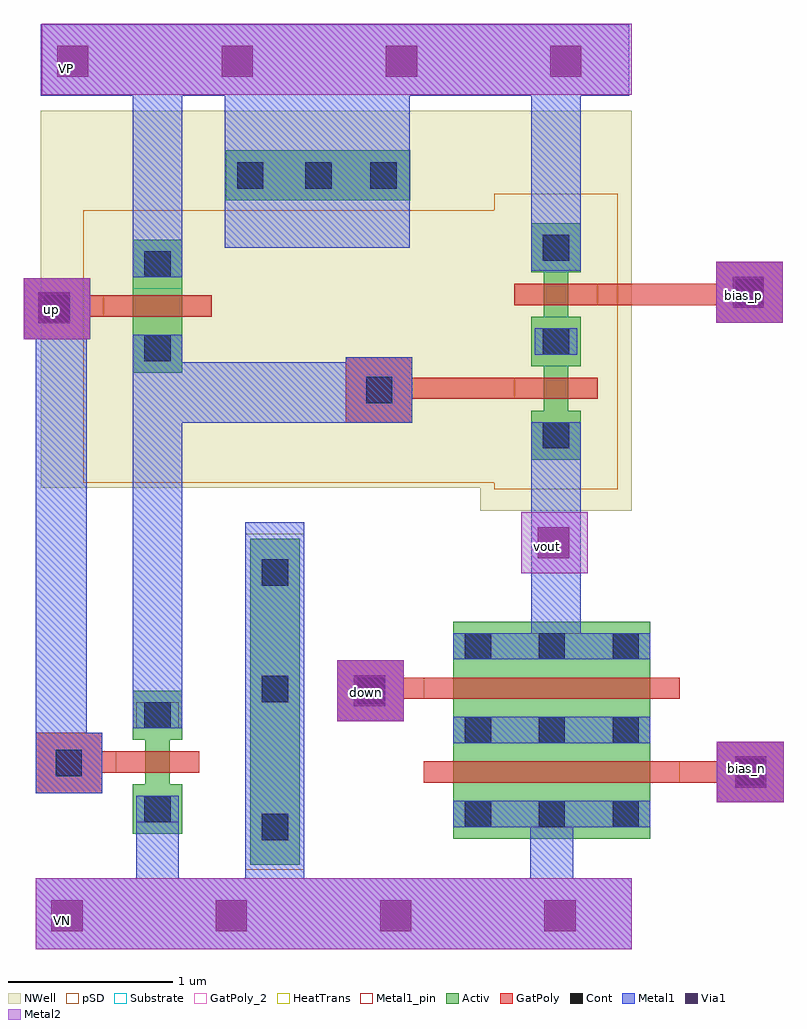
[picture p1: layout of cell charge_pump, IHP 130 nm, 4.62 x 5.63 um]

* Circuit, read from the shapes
.subckt charge_pump VN VP bias_n bias_p down up vout
XM1 n1 up VN VN sg13_lv_nmos w=0.15u l=0.13u
XM2 n2 bias_n VN VN sg13_lv_nmos w=1.2u l=0.13u
XM3 vout down n2 VN sg13_lv_nmos w=1.2u l=0.13u
XM4 VP up n1 VP sg13_lv_pmos w=0.3u l=0.13u
XM5 n3 n1 vout VP sg13_lv_pmos w=0.15u l=0.13u
XM6 VP bias_p n3 VP sg13_lv_pmos w=0.15u l=0.13u
.ends

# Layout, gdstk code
from math import pi, radians
import gdstk
lib = gdstk.Library(unit=1e-6, precision=1e-09)
def R(c, l, rs):  # rectangles x0, y0, x1, y1
    for r in rs: c.add(gdstk.rectangle(r[:2], r[2:], *l))
def A(c, l, x, y, w, h, nx, ny, dx, dy):  # array of equal rectangles
    R(c, l, [(x+i*dx, y+j*dy, x+i*dx+w, y+j*dy+h) for i in range(nx) for j in range(ny)])
Activ = (1, 0)
GatPoly = (5, 0)
GatPoly_2 = (5, 2)
Cont = (6, 0)
Metal1 = (8, 0)
Metal1_pin = (8, 2)
Metal2 = (10, 0)
pSD = (14, 0)
Via1 = (19, 0)
NWell = (31, 0)
Substrate = (40, 0)
HeatTrans = (51, 0)

nmos_1_1 = lib.new_cell('nmos$1$1')
R(nmos_1_1, Activ, [(0,0,0.81,1.2), (0,0,0.3,0.3), (0.51,0,0.81,0.3)])
R(nmos_1_1, GatPoly, [(0.34,-0.18,0.47,1.38)])
R(nmos_1_1, GatPoly_2, [(0.34,-0.18,0.47,1.38)])
A(nmos_1_1, Cont, 0.07, 0.07, 0.16, 0.16, 1, 3, 0, 0.45)
A(nmos_1_1, Cont, 0.58, 0.07, 0.16, 0.16, 1, 3, 0, 0.45)
R(nmos_1_1, Metal1, [(0.07,0,0.23,1.2), (0.58,0,0.74,1.2)])
R(nmos_1_1, Metal1_pin, [(0.07,0,0.23,1.2), (0.58,0,0.74,1.2)])
R(nmos_1_1, HeatTrans, [(0.34,-0.18,0.47,1.38)])
nmos_1_1.add(gdstk.Label('nmos', (0.405,0.6), layer=63, texttype=0))
nmos_1_1.add(gdstk.Label('nmos', (0.405,0.6), layer=51, texttype=0))

pmos_6 = lib.new_cell('pmos$6')
R(pmos_6, Activ, [(0,0,0.3,0.3), (0.57,0,0.87,0.3), (0,0.075,0.87,0.225)])
R(pmos_6, GatPoly, [(0.37,-0.105,0.5,0.405), (0.37,-0.105,0.5,0.405)])
R(pmos_6, Cont, [(0.07,0.07,0.23,0.23), (0.64,0.07,0.8,0.23)])
R(pmos_6, Metal1, [(0.07,0.02,0.23,0.28), (0.07,0.02,0.23,0.28), (0.64,0.02,0.8,0.28), (0.64,0.02,0.8,0.28)])
R(pmos_6, pSD, [(-0.18,-0.225,1.05,0.525)])
R(pmos_6, NWell, [(-0.31,-0.31,1.18,0.61)])
R(pmos_6, Substrate, [(0.57,0,0.87,0.3)])
R(pmos_6, HeatTrans, [(0.37,-0.105,0.5,0.405)])
pmos_6.add(gdstk.Label('pmos', (0.435,0.15), layer=63, texttype=0))
pmos_6.add(gdstk.Label('pmos', (0.435,0.15), layer=51, texttype=0))

nmos_7 = lib.new_cell('nmos$7')
R(nmos_7, Activ, [(0,0,0.3,0.3), (0.57,0,0.87,0.3), (0,0.075,0.87,0.225)])
R(nmos_7, GatPoly, [(0.37,-0.105,0.5,0.405)])
R(nmos_7, GatPoly_2, [(0.37,-0.105,0.5,0.405)])
R(nmos_7, Cont, [(0.07,0.07,0.23,0.23), (0.64,0.07,0.8,0.23)])
R(nmos_7, Metal1, [(0.07,0.02,0.23,0.28), (0.64,0.02,0.8,0.28)])
R(nmos_7, Metal1_pin, [(0.07,0.02,0.23,0.28), (0.64,0.02,0.8,0.28)])
R(nmos_7, HeatTrans, [(0.37,-0.105,0.5,0.405)])
nmos_7.add(gdstk.Label('nmos', (0.435,0.15), layer=63, texttype=0))
nmos_7.add(gdstk.Label('nmos', (0.435,0.15), layer=51, texttype=0))

pmos_1_1 = lib.new_cell('pmos$1$1')
R(pmos_1_1, Activ, [(0,0,0.81,0.3), (0,0,0.3,0.3), (0.51,0,0.81,0.3)])
R(pmos_1_1, GatPoly, [(0.34,-0.18,0.47,0.48), (0.34,-0.18,0.47,0.48)])
R(pmos_1_1, Cont, [(0.07,0.07,0.23,0.23), (0.58,0.07,0.74,0.23)])
R(pmos_1_1, Metal1, [(0.07,0,0.23,0.3), (0.07,0,0.23,0.3), (0.58,0,0.74,0.3), (0.58,0,0.74,0.3)])
R(pmos_1_1, pSD, [(-0.18,-0.3,0.99,0.6)])
R(pmos_1_1, NWell, [(-0.31,-0.31,1.12,0.61)])
R(pmos_1_1, Substrate, [(0.51,0,0.81,0.3)])
R(pmos_1_1, HeatTrans, [(0.34,-0.18,0.47,0.48)])
pmos_1_1.add(gdstk.Label('pmos', (0.405,0.15), layer=63, texttype=0))
pmos_1_1.add(gdstk.Label('pmos', (0.405,0.15), layer=51, texttype=0))

charge_pump = lib.new_cell('charge_pump')
R(charge_pump, Activ, [(-3.015,-3.165,-2.715,-1.18), (-3.165,0.88,-2.04,1.185)])
R(charge_pump, GatPoly, [(-0.175,-2.785,0.23,-2.415), (-4.32,-2.73,-3.915,-2.36), (-0.4,-2.665,-0.175,-2.535), (-3.915,-2.605,-3.835,-2.475), (-2.485,-2.29,-2.08,-1.92), (-2.08,-2.155,-1.96,-2.025), (-2.435,-0.475,-2.03,-0.075), (-2.03,-0.33,-1.955,-0.2), (-1.955,-0.33,-1.41,-0.2), (-4.395,0.035,-3.99,0.405), (-0.18,0.135,0.225,0.505), (-3.99,0.17,-3.91,0.3), (-0.9,0.24,-0.18,0.37)])
R(charge_pump, Cont, [(-2.945,-3.015,-2.785,-2.855), (-0.05,-2.68,0.11,-2.52), (-4.2,-2.625,-4.04,-2.465), (-2.36,-2.185,-2.2,-2.025), (-2.945,-2.175,-2.785,-2.015), (-2.945,-1.465,-2.785,-1.305), (-2.31,-0.355,-2.15,-0.195), (-4.27,0.14,-4.11,0.3), (-0.06,0.24,0.1,0.4), (-3.095,0.95,-2.935,1.11), (-2.68,0.95,-2.52,1.11), (-2.285,0.95,-2.125,1.11)])
R(charge_pump, Metal1, [(-4.32,-3.68,-0.695,-3.245), (-3.71,-3.245,-3.45,-2.905), (-3.045,-3.245,-2.685,-1.08), (-1.31,-3.245,-1.05,-2.9), (-0.175,-2.785,0.23,-2.415), (-4.32,-2.73,-3.915,-2.36), (-4.32,-2.36,-4.01,0.035), (-3.73,-2.335,-3.43,-0.1), (-2.485,-2.29,-2.08,-1.92), (-1.305,-1.755,-1.005,-0.47), (-3.43,-0.475,-2.435,-0.105), (-2.435,-0.475,-2.03,-0.075), (-4.395,0.035,-3.99,0.405), (-0.18,0.135,0.225,0.505), (-1.305,0.45,-1.005,1.515), (-3.73,0.57,-3.43,1.515), (-3.17,0.59,-2.045,1.515), (-4.29,1.515,-0.71,1.95)])
R(charge_pump, Metal2, [(-4.32,-3.68,-0.695,-3.245), (-0.175,-2.785,0.23,-2.415), (-2.485,-2.29,-2.08,-1.92), (-1.365,-1.39,-0.96,-1.02), (-4.395,0.035,-3.99,0.405), (-0.18,0.135,0.225,0.505), (-4.285,1.52,-0.695,1.955)])
R(charge_pump, pSD, [(-3.045,-3.195,-2.685,-1.15), (-4.03,-0.84,-1.175,0.82)])
A(charge_pump, Via1, -4.225, -3.57, 0.19, 0.19, 4, 1, 1, 0)
A(charge_pump, Via1, -4.19, 1.63, 0.19, 0.19, 4, 1, 1, 0)
R(charge_pump, Via1, [(-0.065,-2.695,0.125,-2.505), (-2.385,-2.2,-2.195,-2.01), (-1.265,-1.3,-1.075,-1.11), (-4.305,0.13,-4.115,0.32), (-0.08,0.225,0.11,0.415)])
R(charge_pump, NWell, [(-4.29,-0.87,-0.695,1.425)])
charge_pump.add(gdstk.Reference(nmos_1_1, (-0.58,-3.005), rotation=pi/2))
charge_pump.add(gdstk.Reference(nmos_1_1, (-0.58,-2.495), rotation=pi/2))
charge_pump.add(gdstk.Reference(pmos_6, (-1.005,-0.13), rotation=pi/2))
charge_pump.add(gdstk.Reference(pmos_6, (-1.005,-0.7), rotation=pi/2))
charge_pump.add(gdstk.Reference(nmos_7, (-3.43,-2.975), rotation=pi/2))
charge_pump.add(gdstk.Reference(pmos_1_1, (-3.43,-0.17), rotation=pi/2))
charge_pump.add(gdstk.Label('VN', (-4.155,-3.505), layer=10, texttype=2))
charge_pump.add(gdstk.Label('VP', (-4.135,1.68), layer=10, texttype=2))
charge_pump.add(gdstk.Label('up', (-4.225,0.215), layer=10, texttype=2))
charge_pump.add(gdstk.Label('bias_p', (-0.015,0.3), layer=10, texttype=2))
charge_pump.add(gdstk.Label('vout', (-1.205,-1.225), layer=10, texttype=2))
charge_pump.add(gdstk.Label('down', (-2.305,-2.115), layer=10, texttype=2))
charge_pump.add(gdstk.Label('bias_n', (0.005,-2.58), layer=10, texttype=2))

lib.write_gds('charge_pump.gds')
